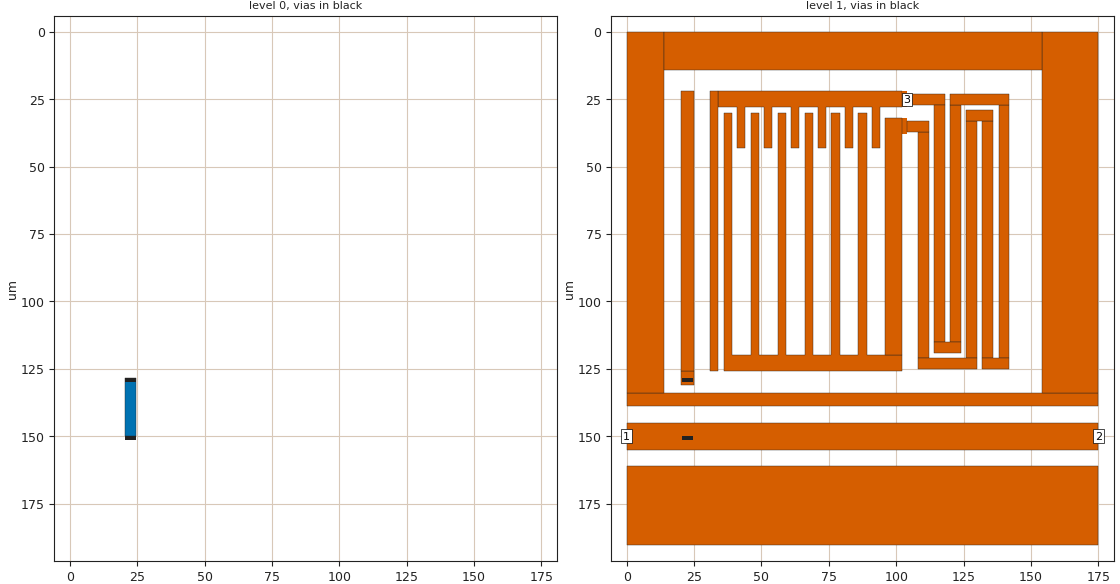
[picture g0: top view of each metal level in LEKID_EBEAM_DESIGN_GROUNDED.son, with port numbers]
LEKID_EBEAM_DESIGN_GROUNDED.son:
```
FTYP SONPROJ 19 ! Sonnet Project File
VER 18.56
HEADER
LIC tudelft52.1.52319
DAT 11/23/2023 12:09:09
BUILT_BY_CREATED xgeom 14.54 01/31/2018 10:22:05
BUILT_BY_SAVED sonnet 18.56
MDATE 11/22/2023 13:41:46
HDATE 11/22/2023 13:41:46
END HEADER
DIM
ANG DEG
CAP PF
CON /OH
FREQ GHZ
IND PH
LNG UM
RES OH
END DIM
CONTROL
VARSWP
OPTIONS  -d
SPEED 0
CACHE_ABS 1
Q_ACC Y
END CONTROL
GEO
TMET "Lossless" 0 SUP 0 0 0 0
BMET "Lossless" 0 SUP 0 0 0 0
MET "Ta" 47 SUP 0 0 0 56
MET "Sense (E-Field)" 9 SEN 1000000
MET "NbTiN" 3 SUP 0 0 0 1
MET "beta-Ta" 51 SUP 0 0 0 89.6
BOX 2 175 190.5 700 762 20 0
      500 1 1 0 0 0 0 "Air"
      0.3 1 1 0 0 0 0 "Air"
      500 11.7 1 0 0 0 0 "Sapphire"
VALVAR finger2 LNG 15 "Dim. Param."
VALVAR finger4 LNG 15 "Dim. Param."
VALVAR finger5 LNG 15 "Dim. Param."
VALVAR finger6 LNG 15 "Dim. Param."
VALVAR L_coupler LNG 104 "Dim. Param."
VALVAR L_ind LNG 84 "Dim. Param."
VALVAR shorted LNG 8 "Dim. Param."
VALVAR d_coupler LNG 6 "Dim. Param."
VALVAR finger1 LNG 15 "Dim. Param."
VALVAR d_ground LNG 8 "Dim. Param."
VALVAR finger3 LNG 15 "Dim. Param."
VALVAR d_ground2 LNG 8 "Dim. Param."
LORGN 0 190.5 U 
POR1 BOX
POLY 420 1
3
1 50 0 0 0 3.090824453e-06 149.9999916 
POR1 BOX
POLY 420 1
1
2 50 0 0 0 175.000013 149.9999916 
POR1 GAP
POLY 544 1
3
3 50 0 0 0 104.0000048 25 
NUM 30
0 5 -1 N 410 1 1 100 100 0 0 0 Y
24.50000779 128.5000075
24.50000779 150.0000009
20.5 150.0000009
20.5 128.5000075
24.50000779 128.5000075
END
VIA POLYGON
0 5 -1 N 411 1 1 100 100 0 0 0 Y
TOLEVEL 1 RING NOCOVERS
20.50000485 128.5000075
24.50001283 128.5000075
24.50001283 130.0000138
20.50000485 130.0000138
20.50000485 128.5000075
END
VIA POLYGON
0 5 -1 N 412 1 1 100 100 0 0 0 Y
TOLEVEL 1 RING NOCOVERS
20.50000485 149.9999963
24.50000622 149.9999963
24.50000622 151.4999922
20.50000485 151.4999922
20.50000485 149.9999963
END
1 5 2 N 420 1 1 100 100 0 0 0 Y
3.090824453e-06 144.9999888
175.000013 144.9999888
175.000013 154.9999944
3.090824453e-06 154.9999944
3.090824453e-06 144.9999888
END
1 5 2 N 424 1 1 100 100 0 0 0 Y
-6.186210278e-06 134.0000048
175.000013 134.0000048
175.000013 138.9999907
-6.186210278e-06 138.9999907
-6.186210278e-06 134.0000048
END
1 5 2 N 425 1 1 100 100 0 0 0 Y
-6.744759638e-06 161.0000023
175.000013 161.0000023
175.000013 190.4999885
-6.744759638e-06 190.4999885
-6.744759638e-06 161.0000023
END
1 5 2 N 426 1 1 100 100 0 0 0 Y
-6.744759638e-06 -2.390353181e-06
14.00000565 -2.390353181e-06
14.00000565 134.0000101
-6.744759638e-06 134.0000101
-6.744759638e-06 -2.390353181e-06
END
1 5 2 N 427 1 1 100 100 0 0 0 Y
153.9999913 -2.390353174e-06
175.000013 -2.390353174e-06
175.000013 134.0000125
153.9999913 134.0000125
153.9999913 -2.390353174e-06
END
1 5 2 N 428 1 1 100 100 0 0 0 Y
14.00000118 -1.352083814e-06
154.0000012 -1.352083814e-06
154.0000012 14
14.00000118 14.0000101
14.00000118 -1.352083814e-06
END
1 5 2 N 430 1 1 100 100 0 0 0 Y
25.00000485 126
25.00000485 131.0000138
20.00000565 131.0000138
20.00000565 126
25.00000485 126
END
1 31 2 N 538 1 1 100 100 0 0 0 Y
102.0000048 126.0000125
102.0000048 120
96.00000485 120
96.00000485 120
89.00000485 120
89.00000485 30
86.00000485 30
86.00000485 120
79.00000485 120
79.00000485 30
76.00000485 30
76.00000485 120
69.00000485 120
69.00000485 30
66.00000485 30
66.00000485 120
59.00000485 120
59.00000485 30
56.00000485 30
56.00000485 120
49.00000485 120
49.00000485 30
46.00000485 30
46.00000485 120
39.00000485 120
39.00000485 30
36.00000485 30
36.00000485 120
36.00000485 120
36.00000485 126.0000125
102.0000048 126.0000125
END
1 29 2 N 539 1 1 100 100 0 0 0 Y
34.00000485 22.0000101
34.00000485 28
41.00000485 28
41.00000485 43
44.00000485 43
44.00000485 28
51.00000485 28
51.00000485 43
54.00000485 43
54.00000485 28
61.00000485 28
61.00000485 43
64.00000485 43
64.00000485 28
71.00000485 28
71.00000485 43
74.00000485 43
74.00000485 28
81.00000485 28
81.00000485 43
84.00000485 43
84.00000485 28
91.00000485 28
91.00000485 43
94.00000485 43
94.00000485 28
102.0000048 28
102.0000048 22.0000101
34.00000485 22.0000101
END
1 5 3 N 544 1 1 100 100 0 0 0 Y
104.0000048 27
118.0000048 27
118.0000048 23
104.0000048 23
104.0000048 27
END
1 5 2 N 555 1 1 100 100 0 0 0 Y
31.00000485 126
34.00000485 126
34.00000485 22
31.00000485 22.0000101
31.00000485 126
END
1 5 2 N 626 1 1 100 100 0 0 0 Y
102.0000048 22
104.0000048 22
104.0000048 28
102.0000048 28
102.0000048 22
END
1 5 2 N 627 1 1 100 100 0 0 0 Y
102.0000048 32
104.0000048 32
104.0000048 38
102.0000048 38
102.0000048 32
END
1 5 3 N 638 1 1 100 100 0 0 0 Y
118.0000048 115
118.0000048 27
114.0000048 27
114.0000048 115
118.0000048 115
END
1 5 3 N 645 1 1 100 100 0 0 0 Y
124.0000048 115
124.0000048 27
120.0000048 27
120.0000048 115
124.0000048 115
END
1 5 3 N 650 1 1 100 100 0 0 0 Y
142.0000049 121
142.0000049 27
138.0000049 27
138.0000049 121
142.0000049 121
END
1 5 3 N 653 1 1 100 100 0 0 0 Y
120.0000048 27
142.0000049 27
142.0000049 23
120.0000048 23
120.0000048 27
END
1 5 3 N 656 1 1 100 100 0 0 0 Y
136.0000049 121
136.0000049 33
132.0000049 33
132.0000049 121
136.0000049 121
END
1 5 3 N 659 1 1 100 100 0 0 0 Y
130.0000049 121
130.0000049 33
126.0000048 33
126.0000048 121
130.0000049 121
END
1 5 3 N 662 1 1 100 100 0 0 0 Y
126.0000048 33
136.0000049 33
136.0000049 29
126.0000048 29
126.0000048 33
END
1 5 3 N 663 1 1 100 100 0 0 0 Y
112.0000048 121
112.0000048 37
108.0000048 37
108.0000048 121
112.0000048 121
END
1 5 3 N 666 1 1 100 100 0 0 0 Y
104.0000048 37
112.0000048 37
112.0000048 33
104.0000048 33
104.0000048 37
END
1 5 3 N 667 1 1 100 100 0 0 0 Y
108.0000048 125
130.0000049 125
130.0000049 121
108.0000048 121
108.0000048 125
END
1 5 3 N 668 1 1 100 100 0 0 0 Y
114.0000048 119
124.0000048 119
124.0000048 115
114.0000048 115
114.0000048 119
END
1 5 3 N 673 1 1 100 100 0 0 0 Y
132.0000049 125
142.0000049 125
142.0000049 121
132.0000049 121
132.0000049 125
END
1 5 2 N 826 1 1 100 100 0 0 0 Y
25.00000485 22
25.00000485 126
20.00000565 126
20.00000565 22
25.00000485 22
END
1 5 2 N 916 1 1 100 100 0 0 0 Y
96.00000485 32
102.0000048 32
102.0000048 120
96.00000485 120
96.00000485 32
END
END GEO
OPT
MAX 100
END OPT
VARSWP
SWPVARS ON
ENABLED Y
FREQ Y AY ABS_ENTRY 3.5 7.0 -1 300 
VAR finger1 YG 12.0 
VAR finger2 YG 12.0 
VAR finger3 YG 12.0 
VAR finger4 YG 12.0 
VAR finger5 YG 12.0 
VAR finger6 Y 12.0 90.0 1.0
VAR L_ind N 84.0 84.0 UNDEF
VAR L_coupler Y 13.0 18.0 1.0
VAR d_coupler N 6.0 6.0 UNDEF
VAR d_ground N 8.0 8.0 UNDEF
VAR d_ground2 YG 0.0 
END
ENABLED Y
FREQ Y AY ABS_ENTRY 3.5 7.0 -1 300 
VAR finger1 YG 12.0 
VAR finger2 YG 12.0 
VAR finger3 YG 12.0 
VAR finger4 YG 12.0 
VAR finger5 Y 12.0 90.0 1.0
VAR finger6 YG 90.0 
VAR L_ind N 84.0 84.0 UNDEF
VAR L_coupler Y 16.0 21.0 1.0
VAR d_coupler N 6.0 6.0 UNDEF
VAR d_ground N 8.0 8.0 UNDEF
VAR d_ground2 YG 0.0 
END
ENABLED Y
FREQ Y AY ABS_ENTRY 3.5 7.0 -1 300 
VAR finger1 YG 12.0 
VAR finger2 YG 12.0 
VAR finger3 YG 12.0 
VAR finger4 Y 12.0 90.0 1.0
VAR finger5 YG 90.0 
VAR finger6 YG 90.0 
VAR L_ind N 84.0 84.0 UNDEF
VAR L_coupler Y 19.0 24.0 1.0
VAR d_coupler N 6.0 6.0 UNDEF
VAR d_ground N 8.0 8.0 UNDEF
VAR d_ground2 YG 0.0 
END
ENABLED Y
FREQ Y AY ABS_ENTRY 3.5 7.0 -1 300 
VAR finger1 YG 12.0 
VAR finger2 YG 12.0 
VAR finger3 Y 12.0 90.0 1.0
VAR finger4 YG 90.0 
VAR finger5 YG 90.0 
VAR finger6 YG 90.0 
VAR L_ind N 84.0 84.0 UNDEF
VAR L_coupler Y 22.0 26.0 1.0
VAR d_coupler N 6.0 6.0 UNDEF
VAR d_ground N 8.0 8.0 UNDEF
VAR d_ground2 YG 0.0 
END
ENABLED Y
FREQ Y AY ABS_ENTRY 3.5 7.0 -1 300 
VAR finger1 YG 12.0 
VAR finger2 Y 12.0 90.0 1.0
VAR finger3 YG 90.0 
VAR finger4 YG 90.0 
VAR finger5 YG 90.0 
VAR finger6 YG 90.0 
VAR L_ind N 84.0 84.0 UNDEF
VAR L_coupler Y 24.0 28.0 1.0
VAR d_coupler N 6.0 6.0 UNDEF
VAR d_ground N 8.0 8.0 UNDEF
VAR d_ground2 YG 0.0 
END
ENABLED Y
FREQ Y AY ABS_ENTRY 3.5 7.0 -1 300 
VAR finger1 Y 12.0 90.0 1.0
VAR finger2 YG 90.0 
VAR finger3 YG 90.0 
VAR finger4 YG 90.0 
VAR finger5 YG 90.0 
VAR finger6 YG 90.0 
VAR L_ind N 84.0 84.0 UNDEF
VAR L_coupler Y 24.0 28.0 1.0
VAR d_coupler N 6.0 6.0 UNDEF
VAR d_ground N 8.0 8.0 UNDEF
VAR d_ground2 YG 0.0 
END
END VARSWP
FILEOUT
TOUCH D Y $BASENAME_REAL.s3p IC 15 S RI R 50.00000
FOLDER LEKID_EBEAM_DESIGN/grounded_normal
END FILEOUT
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```
